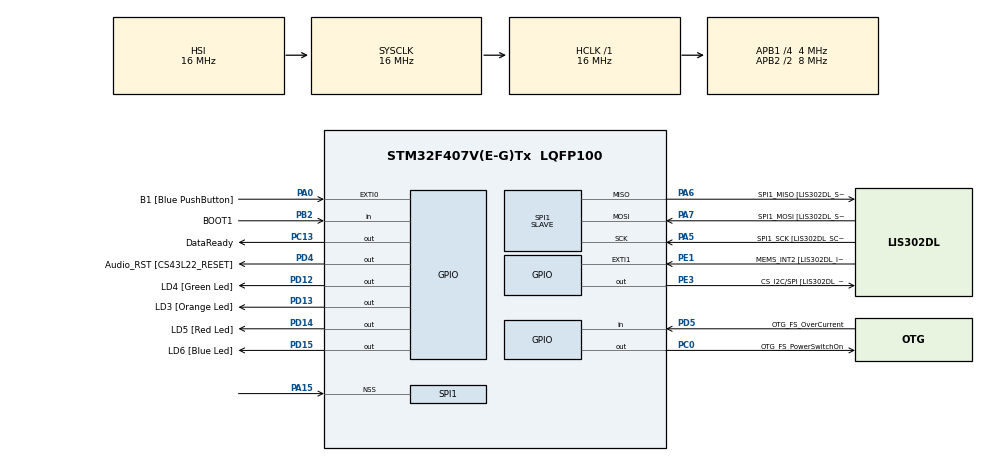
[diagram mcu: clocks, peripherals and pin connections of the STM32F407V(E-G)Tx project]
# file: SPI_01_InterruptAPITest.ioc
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Mcu.Family=STM32F4
Mcu.Name=STM32F407V(E-G)Tx
Mcu.Package=LQFP100
NVIC.PriorityGroup=NVIC_PRIORITYGROUP_0
NVIC.SPI1_IRQn=true\:0\:0\:false\:false\:true\:true\:true\:true
PA0-WKUP.GPIO_Label=B1 [Blue PushButton]
PA0-WKUP.Signal=GPXTI0
PA10.GPIO_Label=OTG_FS_ID
PA10.GPIO_Mode=GPIO_MODE_AF_PP
PA10.GPIO_PuPd=GPIO_NOPULL
PA10.GPIO_Speed=GPIO_SPEED_FREQ_LOW
PA10.Signal=USB_OTG_FS_ID
PA11.GPIO_Label=OTG_FS_DM
PA11.GPIO_Mode=GPIO_MODE_AF_PP
PA11.GPIO_PuPd=GPIO_NOPULL
PA11.GPIO_Speed=GPIO_SPEED_FREQ_LOW
PA11.Signal=USB_OTG_FS_DM
PA12.GPIO_Label=OTG_FS_DP
PA12.GPIO_Mode=GPIO_MODE_AF_PP
PA12.GPIO_PuPd=GPIO_NOPULL
PA12.GPIO_Speed=GPIO_SPEED_FREQ_LOW
PA12.Signal=USB_OTG_FS_DP
PA13.GPIO_Label=SWDIO
PA13.Signal=SYS_JTMS-SWDIO
PA14.GPIO_Label=SWCLK
PA14.Signal=SYS_JTCK-SWCLK
PA15.Mode=NSS_Signal_Hard_Input
PA15.Signal=SPI1_NSS
PA4.GPIO_Label=I2S3_WS [CS43L22_LRCK]
PA4.GPIO_Mode=GPIO_MODE_AF_PP
PA4.GPIO_PuPd=GPIO_NOPULL
PA4.GPIO_Speed=GPIO_SPEED_FREQ_LOW
PA4.Signal=I2S3_WS
PA5.GPIO_Label=SPI1_SCK [LIS302DL_SCL/SPC]
PA5.GPIO_Mode=GPIO_MODE_AF_PP
PA5.GPIO_PuPd=GPIO_NOPULL
PA5.GPIO_Speed=GPIO_SPEED_FREQ_LOW
PA5.Mode=Full_Duplex_Slave
PA5.Signal=SPI1_SCK
PA6.GPIO_Label=SPI1_MISO [LIS302DL_SDO]
PA6.GPIO_Mode=GPIO_MODE_AF_PP
PA6.GPIO_PuPd=GPIO_NOPULL
PA6.GPIO_Speed=GPIO_SPEED_FREQ_LOW
PA6.Mode=Full_Duplex_Slave
PA6.Signal=SPI1_MISO
PA7.GPIO_Label=SPI1_MOSI [LIS302DL_SDA/SDI/SDO]
PA7.GPIO_Mode=GPIO_MODE_AF_PP
PA7.GPIO_PuPd=GPIO_NOPULL
PA7.GPIO_Speed=GPIO_SPEED_FREQ_LOW
PA7.Mode=Full_Duplex_Slave
PA7.Signal=SPI1_MOSI
PA9.GPIO_Label=VBUS_FS
PA9.GPIO_Mode=GPIO_MODE_INPUT
PA9.GPIO_PuPd=GPIO_NOPULL
PA9.Signal=USB_OTG_FS_VBUS
PB10.GPIO_Label=CLK_IN [MP45DT02_CLK]
PB10.GPIO_Mode=GPIO_MODE_AF_PP
PB10.GPIO_PuPd=GPIO_NOPULL
PB10.GPIO_Speed=GPIO_SPEED_FREQ_LOW
PB10.Signal=I2S2_CK
PB2.GPIO_Label=BOOT1
PB2.GPIO_Mode=GPIO_MODE_INPUT
PB2.GPIO_PuPd=GPIO_NOPULL
PB2.Signal=GPIO_Input
PB3.GPIO_Label=SWO
PB3.Signal=SYS_JTDO-SWO
PB6.GPIO_Label=Audio_SCL [CS43L22_SCL]
PB6.GPIO_Mode=GPIO_MODE_AF_OD
PB6.GPIO_PuPd=GPIO_NOPULL
PB6.GPIO_Speed=GPIO_SPEED_FREQ_LOW
PB6.Signal=I2C1_SCL
PB9.GPIO_Label=Audio_SDA [CS43L22_SDA]
PB9.GPIO_Mode=GPIO_MODE_AF_OD
PB9.GPIO_PuPd=GPIO_NOPULL
PB9.GPIO_Speed=GPIO_SPEED_FREQ_LOW
PB9.Signal=I2C1_SDA
PC0.GPIO_Label=OTG_FS_PowerSwitchOn
PC0.GPIO_PuPd=GPIO_NOPULL
PC0.GPIO_Speed=GPIO_SPEED_FREQ_LOW
PC0.PinState=GPIO_PIN_SET
PC0.Signal=GPIO_Output
PC10.GPIO_Label=I2S3_SCK [CS43L22_SCLK]
PC10.GPIO_Mode=GPIO_MODE_AF_PP
PC10.GPIO_PuPd=GPIO_NOPULL
PC10.GPIO_Speed=GPIO_SPEED_FREQ_LOW
PC10.Signal=I2S3_CK
PC12.GPIO_Label=I2S3_SD [CS43L22_SDIN]
PC12.GPIO_Mode=GPIO_MODE_AF_PP
PC12.GPIO_PuPd=GPIO_NOPULL
PC12.GPIO_Speed=GPIO_SPEED_FREQ_LOW
PC12.Signal=I2S3_SD
PC13-ANTI_TAMP.GPIO_Label=DataReady
PC13-ANTI_TAMP.Signal=GPIO_Output
PC14-OSC32_IN.GPIO_Label=PC14-OSC32_IN
PC14-OSC32_IN.Signal=RCC_OSC32_IN
PC15-OSC32_OUT.GPIO_Label=PC15-OSC32_OUT
PC15-OSC32_OUT.Signal=RCC_OSC32_OUT
PC3.GPIO_Label=PDM_OUT [MP45DT02_DOUT]
PC3.GPIO_Mode=GPIO_MODE_AF_PP
PC3.GPIO_PuPd=GPIO_NOPULL
PC3.GPIO_Speed=GPIO_SPEED_FREQ_LOW
PC3.Signal=I2S2_SD
PC7.GPIO_Label=I2S3_MCK [CS43L22_MCLK]
PC7.GPIO_Mode=GPIO_MODE_AF_PP
PC7.GPIO_PuPd=GPIO_NOPULL
PC7.GPIO_Speed=GPIO_SPEED_FREQ_LOW
PC7.Signal=I2S3_MCK
PD12.GPIO_Label=LD4 [Green Led]
PD12.GPIO_PuPd=GPIO_NOPULL
PD12.GPIO_Speed=GPIO_SPEED_FREQ_LOW
PD12.Signal=GPIO_Output
PD13.GPIO_Label=LD3 [Orange Led]
PD13.GPIO_PuPd=GPIO_NOPULL
PD13.GPIO_Speed=GPIO_SPEED_FREQ_LOW
PD13.Signal=GPIO_Output
PD14.GPIO_Label=LD5 [Red Led]
PD14.GPIO_PuPd=GPIO_NOPULL
PD14.GPIO_Speed=GPIO_SPEED_FREQ_LOW
PD14.Signal=GPIO_Output
PD15.GPIO_Label=LD6 [Blue Led]
PD15.GPIO_PuPd=GPIO_NOPULL
PD15.GPIO_Speed=GPIO_SPEED_FREQ_LOW
PD15.Signal=GPIO_Output
PD4.GPIO_Label=Audio_RST [CS43L22_RESET]
PD4.GPIO_PuPd=GPIO_NOPULL
PD4.GPIO_Speed=GPIO_SPEED_FREQ_LOW
PD4.Signal=GPIO_Output
PD5.GPIO_Label=OTG_FS_OverCurrent
PD5.GPIO_Mode=GPIO_MODE_INPUT
PD5.GPIO_PuPd=GPIO_NOPULL
PD5.Signal=GPIO_Input
PE1.GPIO_Label=MEMS_INT2 [LIS302DL_INT2]
PE1.GPIO_ModeDefaultEXTI=GPIO_MODE_EVT_RISING
PE1.GPIO_PuPd=GPIO_NOPULL
PE1.Signal=GPXTI1
PE3.GPIO_Label=CS_I2C/SPI [LIS302DL_CS_I2C/SPI]
PE3.GPIO_PuPd=GPIO_NOPULL
PE3.GPIO_Speed=GPIO_SPEED_FREQ_LOW
PE3.Signal=GPIO_Output
PH0-OSC_IN.GPIO_Label=PH0-OSC_IN
PH0-OSC_IN.Signal=RCC_OSC_IN
PH1-OSC_OUT.GPIO_Label=PH1-OSC_OUT
PH1-OSC_OUT.Signal=RCC_OSC_OUT
ProjectManager.HeapSize=0x200
ProjectManager.StackSize=0x400
ProjectManager.TargetToolchain=STM32CubeIDE
RCC.48MHZClocksFreq_Value=14285714.285714285
RCC.AHBFreq_Value=16000000
RCC.APB1CLKDivider=RCC_HCLK_DIV4
RCC.APB1Freq_Value=4000000
RCC.APB1TimFreq_Value=8000000
RCC.APB2CLKDivider=RCC_HCLK_DIV2
RCC.APB2Freq_Value=8000000
RCC.APB2TimFreq_Value=16000000
RCC.CortexFreq_Value=16000000
RCC.HCLKFreq_Value=16000000
RCC.HSE_VALUE=8000000
RCC.HSI_VALUE=16000000
RCC.LSE_VALUE=32768
RCC.PLLM=8
RCC.PLLN=50
RCC.PLLP=RCC_PLLP_DIV4
RCC.PLLQ=7
RCC.SYSCLKFreq_VALUE=16000000
RCC.VCOOutputFreq_Value=100000000
SPI1.Direction=SPI_DIRECTION_2LINES
SPI1.Mode=SPI_MODE_SLAVE
SPI1.VirtualNSS=VM_NSSHARD
SPI1.VirtualType=VM_SLAVE
board=STM32F407G-DISC1

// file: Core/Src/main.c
/* USER CODE BEGIN Header */
/**
  ******************************************************************************
  * @file           : main.c
  * @brief          : Main program body
  ******************************************************************************
  * @attention
  *
  * Copyright (c) 2026 STMicroelectronics.
  * All rights reserved.
  *
  * This software is licensed under terms that can be found in the LICENSE file
  * in the root directory of this software component.
  * If no LICENSE file comes with this software, it is provided AS-IS.
  *
  ******************************************************************************
  */
/* USER CODE END Header */
#include "main.h"
#include <stdio.h>

/* USER CODE BEGIN PD */
#define MASTER_MSG_LEN	22
char ReceiveBuff[MASTER_MSG_LEN+1];
volatile char MasterMsg[]="Your master has spoken";

#define DATA_RCV_COMPLETE		5
#define DATA_RCV_INCOMPLETE		7
volatile uint8_t DataRcvComplete =	DATA_RCV_INCOMPLETE;

#define MSG_COMP_SUCCESS	15
#define MSG_COMP_FAILED		9

#define SLAVE_MSG_LEN		21
char SlaveMsgDataCorrect[]="Data is not corrupted";
char SlaveMsgDataIncorrect[]="Data is corrupted....";
uint8_t MessageCompare(void);
/* USER CODE END PD */

SPI_HandleTypeDef hspi1;

void SystemClock_Config(void);
static void MX_GPIO_Init(void);
static void MX_SPI1_Init(void);

int main(void)
{

  /* MCU Configuration--------------------------------------------------------*/

  /* Reset of all peripherals, Initializes the Flash interface and the Systick. */
  HAL_Init();

  /* Configure the system clock */
  SystemClock_Config();

  /* Initialize all configured peripherals */
  MX_GPIO_Init();
  MX_SPI1_Init();
  /* USER CODE BEGIN 2 */
  HAL_SPI_Receive_IT(&hspi1,ReceiveBuff,MASTER_MSG_LEN);

  while(DataRcvComplete != DATA_RCV_COMPLETE);//Wait until data receive is complete, this variable is changed when The RxCpltCallback function is called.
  printf("This is a test \n");
  ReceiveBuff[MASTER_MSG_LEN] = '\0';
  printf("Data received is : %s\n",ReceiveBuff);

  //Write a string compare function here
  uint8_t CompResult = MessageCompare();
  if(CompResult == MSG_COMP_SUCCESS){
	  //Tell data is ready to master by making Gpio =1
	  HAL_GPIO_WritePin(DataReady_GPIO_Port, DataReady_Pin, GPIO_PIN_SET);
	  HAL_SPI_Transmit_IT(&hspi1,SlaveMsgDataCorrect,SLAVE_MSG_LEN);
  }
  else if(CompResult == MSG_COMP_FAILED){
	  //Tell data is ready to master by making Gpio =1
	  HAL_GPIO_WritePin(DataReady_GPIO_Port, DataReady_Pin, GPIO_PIN_SET);
	  HAL_SPI_Transmit_IT(&hspi1,SlaveMsgDataIncorrect,SLAVE_MSG_LEN);
  }
  /* USER CODE END 2 */

  /* Infinite loop */
  while (1)
  {

  }
}

void SystemClock_Config(void)
{
  RCC_OscInitTypeDef RCC_OscInitStruct = {0};
  RCC_ClkInitTypeDef RCC_ClkInitStruct = {0};

  /** Configure the main internal regulator output voltage
  */
  __HAL_RCC_PWR_CLK_ENABLE();
  __HAL_PWR_VOLTAGESCALING_CONFIG(PWR_REGULATOR_VOLTAGE_SCALE1);

  /** Initializes the RCC Oscillators according to the specified parameters
  * in the RCC_OscInitTypeDef structure.
  */
  RCC_OscInitStruct.OscillatorType = RCC_OSCILLATORTYPE_HSI;
  RCC_OscInitStruct.HSIState = RCC_HSI_ON;
  RCC_OscInitStruct.HSICalibrationValue = RCC_HSICALIBRATION_DEFAULT;
  RCC_OscInitStruct.PLL.PLLState = RCC_PLL_NONE;
  if (HAL_RCC_OscConfig(&RCC_OscInitStruct) != HAL_OK)
  {
    Error_Handler();
  }

  /** Initializes the CPU, AHB and APB buses clocks
  */
  RCC_ClkInitStruct.ClockType = RCC_CLOCKTYPE_HCLK|RCC_CLOCKTYPE_SYSCLK
                              |RCC_CLOCKTYPE_PCLK1|RCC_CLOCKTYPE_PCLK2;
  RCC_ClkInitStruct.SYSCLKSource = RCC_SYSCLKSOURCE_HSI;
  RCC_ClkInitStruct.AHBCLKDivider = RCC_SYSCLK_DIV1;
  RCC_ClkInitStruct.APB1CLKDivider = RCC_HCLK_DIV4;
  RCC_ClkInitStruct.APB2CLKDivider = RCC_HCLK_DIV2;

  if (HAL_RCC_ClockConfig(&RCC_ClkInitStruct, FLASH_LATENCY_0) != HAL_OK)
  {
    Error_Handler();
  }
}

static void MX_SPI1_Init(void)
{

  /* SPI1 parameter configuration*/
  hspi1.Instance = SPI1;
  hspi1.Init.Mode = SPI_MODE_SLAVE;
  hspi1.Init.Direction = SPI_DIRECTION_2LINES;
  hspi1.Init.DataSize = SPI_DATASIZE_8BIT;
  hspi1.Init.CLKPolarity = SPI_POLARITY_LOW;
  hspi1.Init.CLKPhase = SPI_PHASE_1EDGE;
  hspi1.Init.NSS = SPI_NSS_HARD_INPUT;
  hspi1.Init.FirstBit = SPI_FIRSTBIT_MSB;
  hspi1.Init.TIMode = SPI_TIMODE_DISABLE;
  hspi1.Init.CRCCalculation = SPI_CRCCALCULATION_DISABLE;
  hspi1.Init.CRCPolynomial = 10;
  if (HAL_SPI_Init(&hspi1) != HAL_OK)
  {
    Error_Handler();
  }

}

static void MX_GPIO_Init(void)
{
  GPIO_InitTypeDef GPIO_InitStruct = {0};

  /* GPIO Ports Clock Enable */
  __HAL_RCC_GPIOE_CLK_ENABLE();
  __HAL_RCC_GPIOC_CLK_ENABLE();
  __HAL_RCC_GPIOH_CLK_ENABLE();
  __HAL_RCC_GPIOA_CLK_ENABLE();
  __HAL_RCC_GPIOB_CLK_ENABLE();
  __HAL_RCC_GPIOD_CLK_ENABLE();

  /*Configure GPIO pin Output Level */
  HAL_GPIO_WritePin(CS_I2C_SPI_GPIO_Port, CS_I2C_SPI_Pin, GPIO_PIN_RESET);

  /*Configure GPIO pin Output Level */
  HAL_GPIO_WritePin(DataReady_GPIO_Port, DataReady_Pin, GPIO_PIN_RESET);

  /*Configure GPIO pin Output Level */
  HAL_GPIO_WritePin(OTG_FS_PowerSwitchOn_GPIO_Port, OTG_FS_PowerSwitchOn_Pin, GPIO_PIN_SET);

  /*Configure GPIO pin Output Level */
  HAL_GPIO_WritePin(GPIOD, LD4_Pin|LD3_Pin|LD5_Pin|LD6_Pin
                          |Audio_RST_Pin, GPIO_PIN_RESET);

  /*Configure GPIO pin : CS_I2C_SPI_Pin */
  GPIO_InitStruct.Pin = CS_I2C_SPI_Pin;
  GPIO_InitStruct.Mode = GPIO_MODE_OUTPUT_PP;
  GPIO_InitStruct.Pull = GPIO_NOPULL;
  GPIO_InitStruct.Speed = GPIO_SPEED_FREQ_LOW;
  HAL_GPIO_Init(CS_I2C_SPI_GPIO_Port, &GPIO_InitStruct);

  /*Configure GPIO pins : DataReady_Pin OTG_FS_PowerSwitchOn_Pin */
  GPIO_InitStruct.Pin = DataReady_Pin|OTG_FS_PowerSwitchOn_Pin;
  GPIO_InitStruct.Mode = GPIO_MODE_OUTPUT_PP;
  GPIO_InitStruct.Pull = GPIO_NOPULL;
  GPIO_InitStruct.Speed = GPIO_SPEED_FREQ_LOW;
  HAL_GPIO_Init(GPIOC, &GPIO_InitStruct);

  /*Configure GPIO pin : PDM_OUT_Pin */
  GPIO_InitStruct.Pin = PDM_OUT_Pin;
  GPIO_InitStruct.Mode = GPIO_MODE_AF_PP;
  GPIO_InitStruct.Pull = GPIO_NOPULL;
  GPIO_InitStruct.Speed = GPIO_SPEED_FREQ_LOW;
  GPIO_InitStruct.Alternate = GPIO_AF5_SPI2;
  HAL_GPIO_Init(PDM_OUT_GPIO_Port, &GPIO_InitStruct);

  /*Configure GPIO pin : B1_Pin */
  GPIO_InitStruct.Pin = B1_Pin;
  GPIO_InitStruct.Mode = GPIO_MODE_IT_RISING;
  GPIO_InitStruct.Pull = GPIO_NOPULL;
  HAL_GPIO_Init(B1_GPIO_Port, &GPIO_InitStruct);

  /*Configure GPIO pin : I2S3_WS_Pin */
  GPIO_InitStruct.Pin = I2S3_WS_Pin;
  GPIO_InitStruct.Mode = GPIO_MODE_AF_PP;
  GPIO_InitStruct.Pull = GPIO_NOPULL;
  GPIO_InitStruct.Speed = GPIO_SPEED_FREQ_LOW;
  GPIO_InitStruct.Alternate = GPIO_AF6_SPI3;
  HAL_GPIO_Init(I2S3_WS_GPIO_Port, &GPIO_InitStruct);

  /*Configure GPIO pin : BOOT1_Pin */
  GPIO_InitStruct.Pin = BOOT1_Pin;
  GPIO_InitStruct.Mode = GPIO_MODE_INPUT;
  GPIO_InitStruct.Pull = GPIO_NOPULL;
  HAL_GPIO_Init(BOOT1_GPIO_Port, &GPIO_InitStruct);

  /*Configure GPIO pin : CLK_IN_Pin */
  GPIO_InitStruct.Pin = CLK_IN_Pin;
  GPIO_InitStruct.Mode = GPIO_MODE_AF_PP;
  GPIO_InitStruct.Pull = GPIO_NOPULL;
  GPIO_InitStruct.Speed = GPIO_SPEED_FREQ_LOW;
  GPIO_InitStruct.Alternate = GPIO_AF5_SPI2;
  HAL_GPIO_Init(CLK_IN_GPIO_Port, &GPIO_InitStruct);

  /*Configure GPIO pins : LD4_Pin LD3_Pin LD5_Pin LD6_Pin
                           Audio_RST_Pin */
  GPIO_InitStruct.Pin = LD4_Pin|LD3_Pin|LD5_Pin|LD6_Pin
                          |Audio_RST_Pin;
  GPIO_InitStruct.Mode = GPIO_MODE_OUTPUT_PP;
  GPIO_InitStruct.Pull = GPIO_NOPULL;
  GPIO_InitStruct.Speed = GPIO_SPEED_FREQ_LOW;
  HAL_GPIO_Init(GPIOD, &GPIO_InitStruct);

  /*Configure GPIO pins : I2S3_MCK_Pin I2S3_SCK_Pin I2S3_SD_Pin */
  GPIO_InitStruct.Pin = I2S3_MCK_Pin|I2S3_SCK_Pin|I2S3_SD_Pin;
  GPIO_InitStruct.Mode = GPIO_MODE_AF_PP;
  GPIO_InitStruct.Pull = GPIO_NOPULL;
  GPIO_InitStruct.Speed = GPIO_SPEED_FREQ_LOW;
  GPIO_InitStruct.Alternate = GPIO_AF6_SPI3;
  HAL_GPIO_Init(GPIOC, &GPIO_InitStruct);

  /*Configure GPIO pin : VBUS_FS_Pin */
  GPIO_InitStruct.Pin = VBUS_FS_Pin;
  GPIO_InitStruct.Mode = GPIO_MODE_INPUT;
  GPIO_InitStruct.Pull = GPIO_NOPULL;
  HAL_GPIO_Init(VBUS_FS_GPIO_Port, &GPIO_InitStruct);

  /*Configure GPIO pins : OTG_FS_ID_Pin OTG_FS_DM_Pin OTG_FS_DP_Pin */
  GPIO_InitStruct.Pin = OTG_FS_ID_Pin|OTG_FS_DM_Pin|OTG_FS_DP_Pin;
  GPIO_InitStruct.Mode = GPIO_MODE_AF_PP;
  GPIO_InitStruct.Pull = GPIO_NOPULL;
  GPIO_InitStruct.Speed = GPIO_SPEED_FREQ_LOW;
  GPIO_InitStruct.Alternate = GPIO_AF10_OTG_FS;
  HAL_GPIO_Init(GPIOA, &GPIO_InitStruct);

  /*Configure GPIO pin : OTG_FS_OverCurrent_Pin */
  GPIO_InitStruct.Pin = OTG_FS_OverCurrent_Pin;
  GPIO_InitStruct.Mode = GPIO_MODE_INPUT;
  GPIO_InitStruct.Pull = GPIO_NOPULL;
  HAL_GPIO_Init(OTG_FS_OverCurrent_GPIO_Port, &GPIO_InitStruct);

  /*Configure GPIO pins : Audio_SCL_Pin Audio_SDA_Pin */
  GPIO_InitStruct.Pin = Audio_SCL_Pin|Audio_SDA_Pin;
  GPIO_InitStruct.Mode = GPIO_MODE_AF_OD;
  GPIO_InitStruct.Pull = GPIO_NOPULL;
  GPIO_InitStruct.Speed = GPIO_SPEED_FREQ_LOW;
  GPIO_InitStruct.Alternate = GPIO_AF4_I2C1;
  HAL_GPIO_Init(GPIOB, &GPIO_InitStruct);

  /*Configure GPIO pin : MEMS_INT2_Pin */
  GPIO_InitStruct.Pin = MEMS_INT2_Pin;
  GPIO_InitStruct.Mode = GPIO_MODE_EVT_RISING;
  GPIO_InitStruct.Pull = GPIO_NOPULL;
  HAL_GPIO_Init(MEMS_INT2_GPIO_Port, &GPIO_InitStruct);

}

void Error_Handler(void)
{
  __disable_irq();
  while (1)
  {
  }
}
void HAL_SPI_RxCpltCallback(SPI_HandleTypeDef *hspi)
{
	DataRcvComplete = DATA_RCV_COMPLETE;
	UNUSED(hspi);
}

uint8_t MessageCompare(void){
	uint8_t CompRes = MSG_COMP_FAILED;
	for(int i=0; i< MASTER_MSG_LEN;i++)
		{
			if(MasterMsg[i]!=ReceiveBuff[i])
			{
				return CompRes;
			}
		}
	CompRes = MSG_COMP_SUCCESS;
	return CompRes;
}
